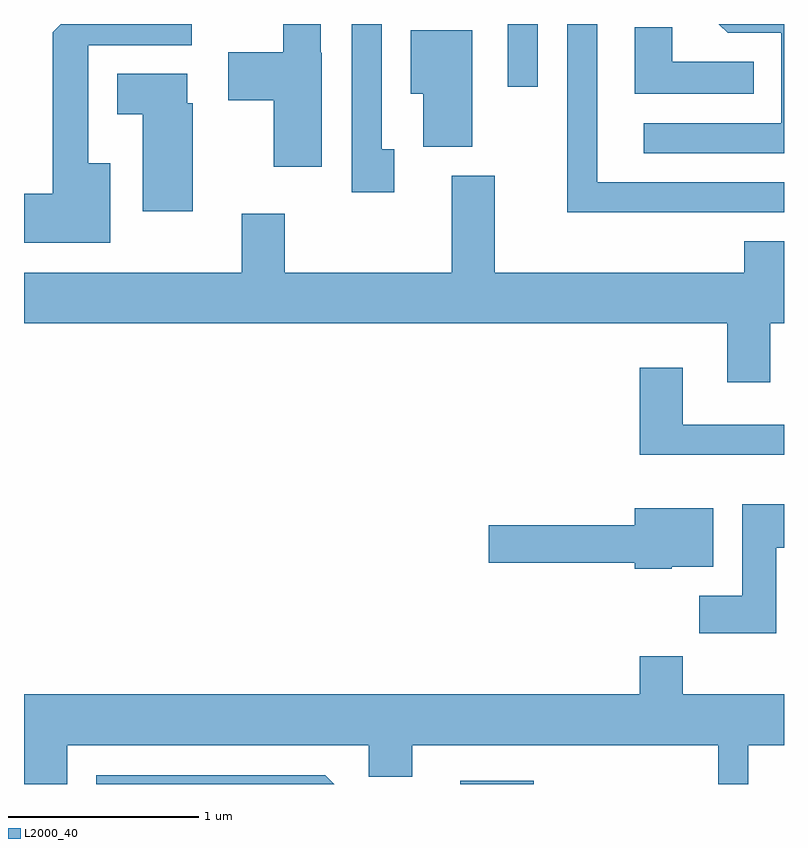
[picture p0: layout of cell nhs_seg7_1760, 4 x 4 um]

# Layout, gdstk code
import gdstk
lib = gdstk.Library(unit=1e-6, precision=1e-09)
def R(c, l, rs):  # rectangles x0, y0, x1, y1
    for r in rs: c.add(gdstk.rectangle(r[:2], r[2:], *l))
def P(c, l, *ps):  # polygons
    for p in ps: c.add(gdstk.Polygon(p, *l))
L2000_40 = (2000, 40)

nhs_seg7_1760 = lib.new_cell('nhs_seg7_1760')
R(nhs_seg7_1760, L2000_40, [(239.908,1796.252,240.294,1796.269), (240.156,1799.923,240.314,1800.252)])
P(nhs_seg7_1760, L2000_40, [(239.179,1800.1),(239.174,1800.1),(239.174,1800.252),(238.976,1800.252),(238.976,1800.104),(238.686,1800.104),(238.686,1799.851),(238.926,1799.851),(238.926,1799.501),(239.179,1799.501)],
  [(238.064,1799.519),(237.949,1799.519),(237.949,1800.141),(238.494,1800.141),(238.494,1800.252),(237.804,1800.252),(237.761,1800.209),(237.761,1799.359),(237.611,1799.359),(237.611,1799.101),(238.064,1799.101)],
  [(239.559,1799.594),(239.494,1799.594),(239.494,1800.252),(239.336,1800.252),(239.336,1799.366),(239.559,1799.366)],
  [(241.611,1800.252),(241.268,1800.252),(241.314,1800.206),(241.596,1800.206),(241.596,1799.729),(240.873,1799.729),(240.873,1799.571),(241.611,1799.571)],
  [(241.611,1799.419),(240.629,1799.419),(240.629,1800.252),(240.471,1800.252),(240.471,1799.261),(241.611,1799.261)],
  [(241.453,1800.054),(241.024,1800.054),(241.024,1800.234),(240.826,1800.234),(240.826,1799.886),(241.453,1799.886)],
  [(239.969,1800.219),(239.646,1800.219),(239.646,1799.886),(239.711,1799.886),(239.711,1799.606),(239.969,1799.606)],
  [(238.499,1799.834),(238.469,1799.834),(238.469,1799.989),(238.101,1799.989),(238.101,1799.776),(238.236,1799.776),(238.236,1799.266),(238.499,1799.266)],
  [(241.539,1798.676),(241.611,1798.676),(241.611,1799.109),(241.401,1799.109),(241.401,1798.944),(240.089,1798.944),(240.089,1799.454),(239.861,1799.454),(239.861,1798.944),(238.984,1798.944),(238.984,1799.254),(238.756,1799.254),(238.756,1798.944),(237.611,1798.944),(237.611,1798.676),(241.311,1798.676),(241.311,1798.366),(241.539,1798.366)],
  [(241.611,1798.144),(241.079,1798.144),(241.079,1798.444),(240.851,1798.444),(240.851,1797.986),(241.611,1797.986)],
  [(241.569,1797.496),(241.611,1797.496),(241.611,1797.724),(241.391,1797.724),(241.391,1797.244),(241.166,1797.244),(241.166,1797.046),(241.569,1797.046)],
  [(241.02,1797.396),(241.239,1797.396),(241.239,1797.704),(240.826,1797.704),(240.826,1797.614),(240.056,1797.614),(240.056,1797.416),(240.826,1797.416),(240.826,1797.386),(241.02,1797.386)],
  [(237.839,1796.456),(239.426,1796.456),(239.426,1796.291),(239.654,1796.291),(239.654,1796.456),(241.266,1796.456),(241.266,1796.252),(241.424,1796.252),(241.424,1796.456),(241.611,1796.456),(241.611,1796.724),(241.079,1796.724),(241.079,1796.924),(240.851,1796.924),(240.851,1796.724),(237.611,1796.724),(237.611,1796.252),(237.839,1796.252)],
  [(239.197,1796.299),(237.991,1796.299),(237.991,1796.252),(239.244,1796.252)])

lib.write_gds('nhs_seg7_1760.gds')
